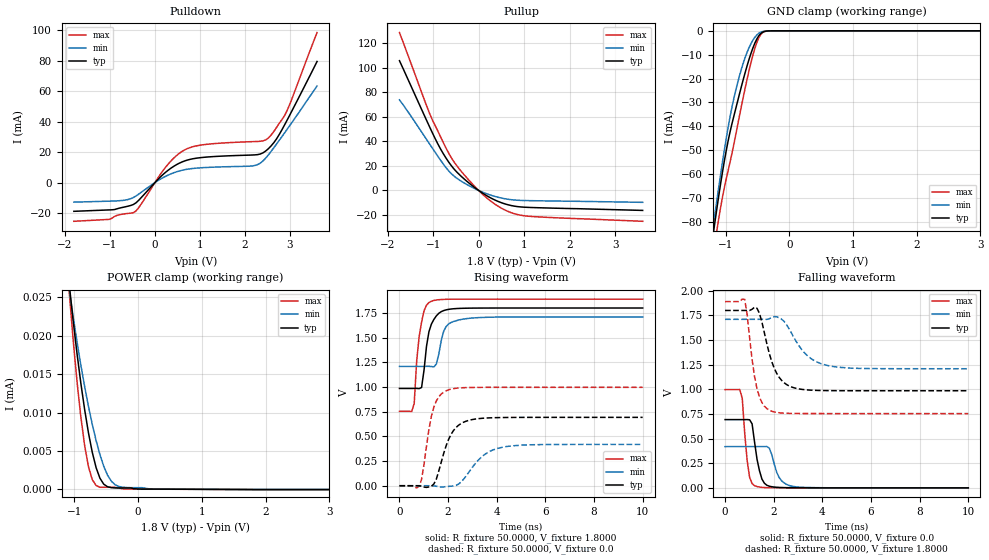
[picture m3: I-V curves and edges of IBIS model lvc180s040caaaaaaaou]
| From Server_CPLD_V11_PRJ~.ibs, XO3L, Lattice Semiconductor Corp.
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[Model]   lvc180s040caaaaaaaou
Model_type   Output
Polarity   Non-Inverting
Enable   Active-Low
Vmeas =   0.9000V
Cref =   0.0F
Rref =   1.0000M
Vref =   0.0V
C_comp   4.2000pF   3.8000pF   7.5000pF
[Temperature Range]   25.0000   0.1050k   -40.0000
[Voltage Range]   1.8000V   1.7100V   1.8900V
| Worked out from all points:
|   slope of the pulldown table from 0 to 0.27 V, typ, clamps not added: 35.7 ohm
|   slope of the pullup table from 0 to 0.27 V, typ, clamps not added: 43.7 ohm
|   GND clamp passes 1 mA (typ) near -0.44 V on its own axis
|   rising waveform, R_fixture 50.0000, V_fixture 1.8000: 20-80 % time 316ps typ, 320ps min, 273ps max; typ from 0.985 V to 1.8 V
|   rising waveform, R_fixture 50.0000, V_fixture 0.0: 20-80 % time 605ps typ, 927ps min, 417ps max; typ from 0 V to 0.692 V
|   falling waveform, R_fixture 50.0000, V_fixture 0.0: 20-80 % time 293ps typ, 366ps min, 216ps max; typ from 0.693 V to 0 V
|   falling waveform, R_fixture 50.0000, V_fixture 1.8000: 20-80 % time 600ps typ, 912ps min, 394ps max; typ from 1.8 V to 0.985 V
[Pulldown]
|Voltage   I(typ)   I(min)   I(max)
-1.8V     -18.86mA   -12.83mA   -25.42mA
-1.02V    -17.94mA   -12.2mA    -24.17mA
-420mV    -13.27mA   -8.803mA   -18.63mA
240mV     6.859mA    4.183mA    10.22mA
480mV     11.8mA     7.089mA    17.77mA
720mV     14.79mA    8.792mA    22.32mA
1.2V      16.89mA    10.02mA    25.3mA
2.22V     18.21mA    11.25mA    26.96mA
2.52V     22.3mA     18.23mA    29.35mA
2.7V      28.7mA     25.29mA    36.22mA
2.94V     41.31mA    35.2mA     47.65mA
3.6V      79.56mA    63.47mA    98.55mA
[Pullup]
|Voltage   I(typ)   I(min)   I(max)
-1.74V    105.7mA    73.81mA    128.6mA
-1.08V    51.92mA    37.94mA    62.86mA
-840mV    33.95mA    24.81mA    43.88mA
-660mV    23.18mA    16mA       30.46mA
-540mV    17.41mA    11.68mA    23.16mA
-300mV    8.757mA    5.707mA    11.97mA
0V        -1.899nA   -1.713nA   -2.809nA
240mV     -5.592mA   -3.504mA   -7.961mA
420mV     -8.807mA   -5.471mA   -12.69mA
600mV     -11.18mA   -6.879mA   -16.33mA
960mV     -13.5mA    -8.118mA   -20.38mA
3.6V      -16.22mA   -9.647mA   -25.08mA
[GND_clamp]
|Voltage   I(typ)   I(min)   I(max)
-1.8V     -240.2mA   -229.4mA   -254.3mA
-1.2V     -86.16mA   -82.91mA   -94.88mA
-1.17V    -80.45mA   -77.09mA   -89.3mA
-1.11V    -69.45mA   -65.77mA   -78.87mA
-1.02V    -54.48mA   -49.86mA   -65.69mA
-930mV    -42.25mA   -35.9mA    -54.92mA
-780mV    -26.14mA   -18.58mA   -35.25mA
-690mV    -17.13mA   -10.87mA   -23.53mA
-570mV    -7.024mA   -3.834mA   -9.978mA
-450mV    -1.176mA   -584.6uA   -1.582mA
-300mV    -18.65uA   -15.9uA    -16.44uA
3.6V      0A         0A         0A
[POWER_clamp]
|Voltage   I(typ)   I(min)   I(max)
-1.8V     102.4uA    78.03uA    133.9uA
-1.08V    26.57uA    25.91uA    25.52uA
-1.02V    21.97uA    22.48uA    19.46uA
-960mV    17.73uA    19.24uA    14.09uA
-840mV    10.4uA     13.4uA     5.721uA
-780mV    7.366uA    10.82uA    2.952uA
-660mV    2.828uA    6.355uA    502.3nA
-600mV    1.449uA    4.526uA    261.4nA
-480mV    331.7nA    1.843uA    261.4nA
-360mV    177.2nA    586.8nA    261.4nA
-240mV    177.2nA    270.3nA    57.44nA
3.6V      -31nA      -27.04nA   -40.53nA
[Ramp]
| variable   typ   min   max
dV/dt_r  0.3835/0.6002n   0.2511/0.9175n   0.5981/0.4134n
dV/dt_f  0.4887/0.5938n   0.3008/0.9028n   0.6817/0.3902n
R_load = 50.0000
[Rising Waveform]
R_fixture=   50.0000
V_fixture=   1.8000
V_fixture_min=   1.7100
V_fixture_max=   1.8900
|time   V(typ)   V(min)   V(max)
0s        985.4mV    1.209V     753.8mV
606.1ps   985.5mV    1.209V     833.5mV
707.1ps   985.8mV    1.209V     1.263V
909.1ps   995.1mV    1.208V     1.657V
1.111ns   1.411V     1.209V     1.829V
1.313ns   1.637V     1.207V     1.869V
1.515ns   1.72V      1.232V     1.881V
1.919ns   1.781V     1.613V     1.888V
2.424ns   1.796V     1.677V     1.89V
10ns      1.8V       1.71V      1.89V
[Rising Waveform]
R_fixture=   50.0000
V_fixture=   0.0
V_fixture_min=   0.0
V_fixture_max=   0.0
|time   V(typ)   V(min)   V(max)
0s        551.1nV    773.6nV    431.5nV
808.1ps   -676.1uV   1.137uV    -5.572mV
909.1ps   -4.556mV   11.92uV    64.26mV
1.212ns   -12.34mV   -127.3uV   572.3mV
1.414ns   17.64mV    -1.571mV   795.9mV
1.919ns   405.2mV    -8.516mV   961.7mV
2.626ns   642.2mV    62.91mV    992.9mV
3.434ns   683.6mV    303.2mV    996.3mV
4.141ns   690.4mV    384.9mV    996.7mV
10ns      692.5mV    418.5mV    996.8mV
[Falling Waveform]
R_fixture=   50.0000
V_fixture=   0.0
V_fixture_min=   0.0
V_fixture_max=   0.0
|time   V(typ)   V(min)   V(max)
0s        692.6mV    418.5mV    996.8mV
606.1ps   692.6mV    418.5mV    997.5mV
707.1ps   692.5mV    418.5mV    905.3mV
1.01ns    690.8mV    418.5mV    105.1mV
1.212ns   464.6mV    418.5mV    22.1mV
1.515ns   89.09mV    418.9mV    5.28mV
1.919ns   11.5mV     337.8mV    876.3uV
2.222ns   4.48mV     105.3mV    263.1uV
2.828ns   834.7uV    13.29mV    53.28uV
10ns      5.228uV    -1.51uV    13.75uV
[Falling Waveform]
R_fixture=   50.0000
V_fixture=   1.8000
V_fixture_min=   1.7100
V_fixture_max=   1.8900
|time   V(typ)   V(min)   V(max)
0s        1.8V       1.71V      1.89V
808.1ps   1.8V       1.71V      1.912V
1.111ns   1.812V     1.71V      1.301V
1.313ns   1.822V     1.71V      1.006V
1.818ns   1.363V     1.716V     788.4mV
2.121ns   1.163V     1.736V     765.3mV
2.525ns   1.049V     1.657V     756.7mV
3.333ns   994.7mV    1.353V     754.1mV
4.141ns   987mV      1.246V     753.8mV
10ns      985.4mV    1.209V     753.8mV
